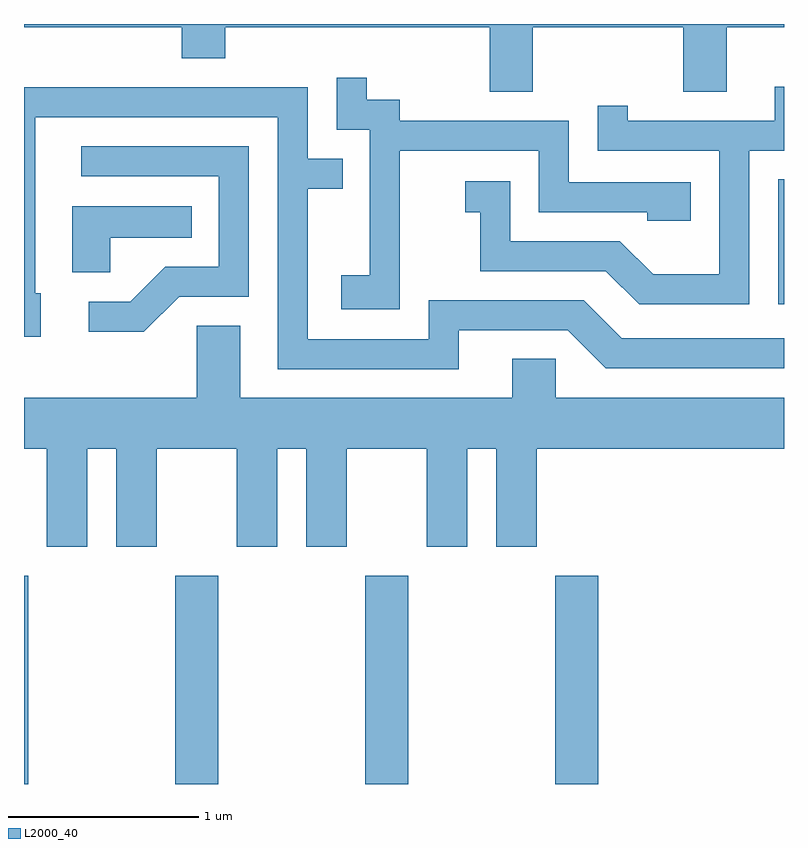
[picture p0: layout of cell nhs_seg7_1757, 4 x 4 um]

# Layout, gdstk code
import gdstk
lib = gdstk.Library(unit=1e-6, precision=1e-09)
def R(c, l, rs):  # rectangles x0, y0, x1, y1
    for r in rs: c.add(gdstk.rectangle(r[:2], r[2:], *l))
def A(c, l, x, y, w, h, nx, ny, dx, dy):  # array of equal rectangles
    R(c, l, [(x+i*dx, y+j*dy, x+i*dx+w, y+j*dy+h) for i in range(nx) for j in range(ny)])
def P(c, l, *ps):  # polygons
    for p in ps: c.add(gdstk.Polygon(p, *l))
L2000_40 = (2000, 40)

nhs_seg7_1757 = lib.new_cell('nhs_seg7_1757')
A(nhs_seg7_1757, L2000_40, 238.406, 1790.252, 0.228, 1.097, 3, 1, 1, 0)
R(nhs_seg7_1757, L2000_40, [(237.611,1790.252,237.634,1791.349), (241.581,1792.776,241.611,1793.434)])
P(nhs_seg7_1757, L2000_40, [(240.289,1794.236),(241.081,1794.236),(241.081,1793.896),(241.309,1793.896),(241.309,1794.236),(241.611,1794.236),(241.611,1794.252),(237.611,1794.252),(237.611,1794.236),(238.441,1794.236),(238.441,1794.071),(238.669,1794.071),(238.669,1794.236),(240.061,1794.236),(240.061,1793.896),(240.289,1793.896)],
  [(239.589,1793.586),(240.321,1793.586),(240.321,1793.261),(240.891,1793.261),(240.891,1793.216),(241.119,1793.216),(241.119,1793.419),(240.479,1793.419),(240.479,1793.744),(239.589,1793.744),(239.589,1793.854),(239.414,1793.854),(239.414,1793.968),(239.256,1793.968),(239.256,1793.696),(239.431,1793.696),(239.431,1792.929),(239.281,1792.929),(239.281,1792.751),(239.589,1792.751)],
  [(241.429,1793.586),(241.611,1793.586),(241.611,1793.923),(241.561,1793.923),(241.561,1793.744),(240.789,1793.744),(240.789,1793.823),(240.631,1793.823),(240.631,1793.586),(241.271,1793.586),(241.271,1792.934),(240.922,1792.934),(240.747,1793.109),(240.169,1793.109),(240.169,1793.424),(239.933,1793.424),(239.933,1793.261),(240.011,1793.261),(240.011,1792.951),(240.674,1792.951),(240.849,1792.776),(241.429,1792.776)],
  [(239.899,1792.641),(240.474,1792.641),(240.674,1792.441),(241.611,1792.441),(241.611,1792.599),(240.757,1792.599),(240.557,1792.799),(239.741,1792.799),(239.741,1792.594),(239.104,1792.594),(239.104,1793.386),(239.288,1793.386),(239.288,1793.544),(239.104,1793.544),(239.104,1793.919),(237.611,1793.919),(237.611,1792.606),(237.699,1792.606),(237.699,1792.834),(237.669,1792.834),(237.669,1793.761),(238.946,1793.761),(238.946,1792.436),(239.899,1792.436)],
  [(238.427,1792.816),(238.794,1792.816),(238.794,1793.609),(237.913,1793.609),(237.913,1793.451),(238.636,1793.451),(238.636,1792.974),(238.354,1792.974),(238.169,1792.789),(237.953,1792.789),(237.953,1792.631),(238.242,1792.631)],
  [(238.064,1793.126),(238.493,1793.126),(238.493,1793.294),(237.866,1793.294),(237.866,1792.946),(238.064,1792.946)],
  [(237.611,1792.016),(237.731,1792.016),(237.731,1791.501),(237.944,1791.501),(237.944,1792.016),(238.096,1792.016),(238.096,1791.501),(238.309,1791.501),(238.309,1792.016),(238.731,1792.016),(238.731,1791.501),(238.944,1791.501),(238.944,1792.016),(239.096,1792.016),(239.096,1791.501),(239.309,1791.501),(239.309,1792.016),(239.731,1792.016),(239.731,1791.501),(239.944,1791.501),(239.944,1792.016),(240.096,1792.016),(240.096,1791.501),(240.309,1791.501),(240.309,1792.016),(241.611,1792.016),(241.611,1792.284),(240.409,1792.284),(240.409,1792.489),(240.181,1792.489),(240.181,1792.284),(238.749,1792.284),(238.749,1792.664),(238.521,1792.664),(238.521,1792.284),(237.611,1792.284)])

lib.write_gds('nhs_seg7_1757.gds')
